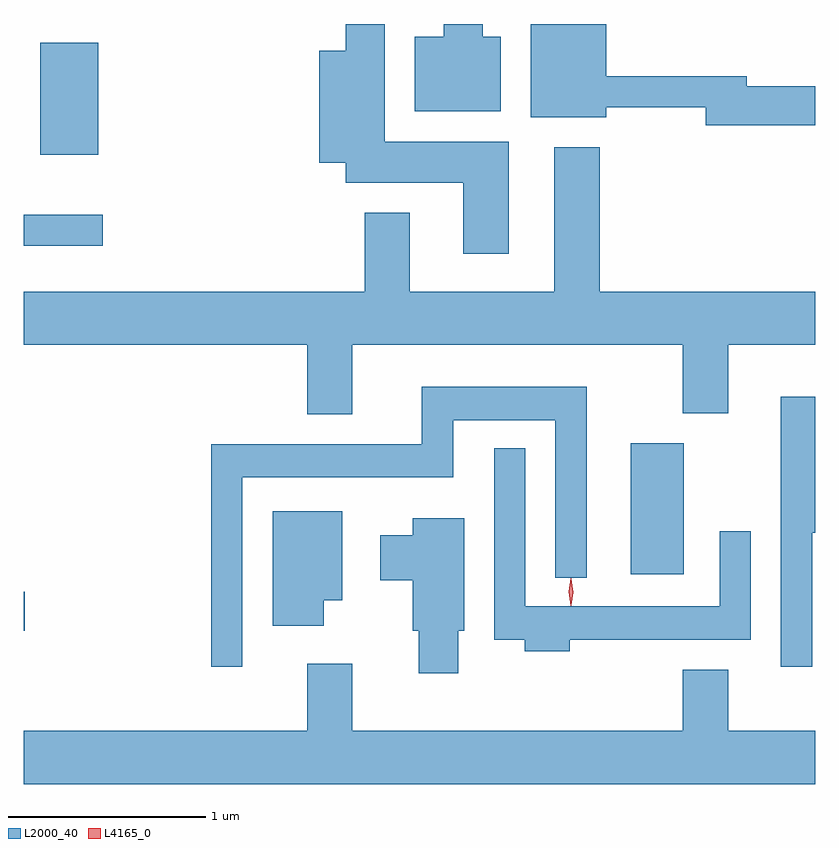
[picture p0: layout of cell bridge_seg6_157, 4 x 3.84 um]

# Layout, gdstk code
import gdstk
lib = gdstk.Library(unit=1e-6, precision=1e-09)
def R(c, l, rs):  # rectangles x0, y0, x1, y1
    for r in rs: c.add(gdstk.rectangle(r[:2], r[2:], *l))
def P(c, l, *ps):  # polygons
    for p in ps: c.add(gdstk.Polygon(p, *l))
L2000_40 = (2000, 40)
L4165_0 = (4165, 0)

bridge_seg6_157 = lib.new_cell('bridge_seg6_157')
R(bridge_seg6_157, L2000_40, [(1076.879,1597.431,1076.884,1597.629), (1079.946,1597.716,1080.214,1598.379), (1076.879,1599.376,1077.278,1599.534), (1076.961,1599.836,1077.254,1600.404)])
P(bridge_seg6_157, L2000_40, [(1080.879,1600.184),(1080.534,1600.184),(1080.534,1600.234),(1079.824,1600.234),(1079.824,1600.498),(1079.441,1600.498),(1079.441,1600.026),(1079.824,1600.026),(1079.824,1600.076),(1080.326,1600.076),(1080.326,1599.986),(1080.879,1599.986)],
  [(1079.329,1599.904),(1078.704,1599.904),(1078.704,1600.498),(1078.506,1600.498),(1078.506,1600.364),(1078.371,1600.364),(1078.371,1599.796),(1078.506,1599.796),(1078.506,1599.696),(1079.101,1599.696),(1079.101,1599.336),(1079.329,1599.336)],
  [(1079.289,1600.434),(1079.199,1600.434),(1079.199,1600.498),(1079.001,1600.498),(1079.001,1600.434),(1078.856,1600.434),(1078.856,1600.056),(1079.289,1600.056)],
  [(1078.539,1598.876),(1080.211,1598.876),(1080.211,1598.531),(1080.439,1598.531),(1080.439,1598.876),(1080.879,1598.876),(1080.879,1599.144),(1079.789,1599.144),(1079.789,1599.874),(1079.561,1599.874),(1079.561,1599.144),(1078.829,1599.144),(1078.829,1599.544),(1078.601,1599.544),(1078.601,1599.144),(1076.879,1599.144),(1076.879,1598.876),(1078.311,1598.876),(1078.311,1598.526),(1078.539,1598.526)],
  [(1077.984,1598.206),(1079.049,1598.206),(1079.049,1598.496),(1079.566,1598.496),(1079.566,1597.698),(1079.724,1597.698),(1079.724,1598.664),(1078.891,1598.664),(1078.891,1598.374),(1077.826,1598.374),(1077.826,1597.248),(1077.984,1597.248)],
  [(1080.864,1597.926),(1080.879,1597.926),(1080.879,1598.614),(1080.706,1598.614),(1080.706,1597.248),(1080.864,1597.248)],
  [(1079.639,1597.386),(1080.554,1597.386),(1080.554,1597.933),(1080.396,1597.933),(1080.396,1597.554),(1079.414,1597.554),(1079.414,1598.353),(1079.256,1598.353),(1079.256,1597.386),(1079.411,1597.386),(1079.411,1597.326),(1079.639,1597.326)],
  [(1078.394,1597.586),(1078.489,1597.586),(1078.489,1598.034),(1078.136,1598.034),(1078.136,1597.456),(1078.394,1597.456)],
  [(1079.074,1597.431),(1079.104,1597.431),(1079.104,1597.999),(1078.846,1597.999),(1078.846,1597.914),(1078.681,1597.914),(1078.681,1597.686),(1078.846,1597.686),(1078.846,1597.431),(1078.876,1597.431),(1078.876,1597.216),(1079.074,1597.216)],
  [(1080.879,1596.924),(1080.439,1596.924),(1080.439,1597.234),(1080.211,1597.234),(1080.211,1596.924),(1078.539,1596.924),(1078.539,1597.264),(1078.311,1597.264),(1078.311,1596.924),(1076.879,1596.924),(1076.879,1596.656),(1080.879,1596.656)])
P(bridge_seg6_157, L4165_0, [(1079.646,1597.559),(1079.645,1597.56),(1079.636,1597.626),(1079.645,1597.692),(1079.646,1597.693),(1079.646,1597.692),(1079.656,1597.626),(1079.646,1597.56)],
  [(1079.644,1597.557),(1079.644,1597.558),(1079.634,1597.627),(1079.644,1597.696),(1079.644,1597.696),(1079.645,1597.696),(1079.654,1597.627),(1079.645,1597.558)])

lib.write_gds('bridge_seg6_157.gds')
